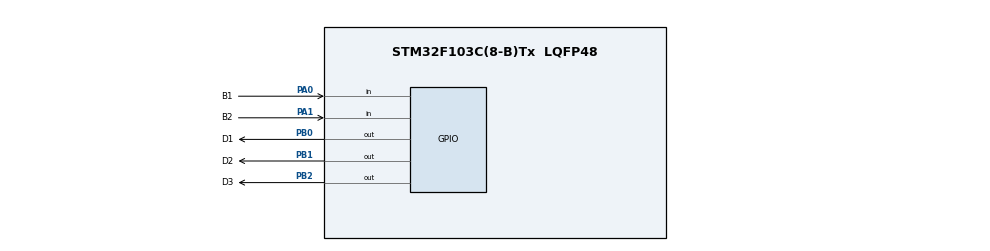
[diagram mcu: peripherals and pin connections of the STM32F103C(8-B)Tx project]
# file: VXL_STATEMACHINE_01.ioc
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Mcu.Family=STM32F1
Mcu.Name=STM32F103C(8-B)Tx
Mcu.Package=LQFP48
NVIC.PriorityGroup=NVIC_PRIORITYGROUP_4
PA0-WKUP.GPIO_Label=B1
PA0-WKUP.GPIO_PuPd=GPIO_PULLUP
PA0-WKUP.Signal=GPIO_Input
PA1.GPIO_Label=B2
PA1.GPIO_PuPd=GPIO_PULLUP
PA1.Signal=GPIO_Input
PA13.Mode=Serial_Wire
PA13.Signal=SYS_JTMS-SWDIO
PA14.Mode=Serial_Wire
PA14.Signal=SYS_JTCK-SWCLK
PB0.GPIO_Label=D1
PB0.Signal=GPIO_Output
PB1.GPIO_Label=D2
PB1.Signal=GPIO_Output
PB2.GPIO_Label=D3
PB2.Signal=GPIO_Output
ProjectManager.HeapSize=0x200
ProjectManager.StackSize=0x400
ProjectManager.TargetToolchain=MDK-ARM V5.32
RCC.APB1Freq_Value=8000000
RCC.APB2Freq_Value=8000000
board=custom

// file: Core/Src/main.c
/* USER CODE BEGIN Header */
/**
  ******************************************************************************
  * @file           : main.c
  * @brief          : Main program body
  ******************************************************************************
  * @attention
  *
  * Copyright (c) 2023 STMicroelectronics.
  * All rights reserved.
  *
  * This software is licensed under terms that can be found in the LICENSE file
  * in the root directory of this software component.
  * If no LICENSE file comes with this software, it is provided AS-IS.
  *
  ******************************************************************************
  */
/* USER CODE END Header */
#include "main.h"

/* USER CODE BEGIN PD */
#define Request_2
#define B1_PRESSED	GPIO_PIN_RESET //0
#define B2_PRESSED	GPIO_PIN_RESET //0
#define D1_ON 			GPIO_PIN_SET   //1
#define D1_OFF 			GPIO_PIN_RESET
#define D2_ON 			GPIO_PIN_SET   //1
#define D2_OFF 			GPIO_PIN_RESET
#define D3_ON 			GPIO_PIN_SET   //1
#define D3_OFF 			GPIO_PIN_RESET
/* USER CODE END PD */

/* USER CODE BEGIN PV */
uint8_t B1 = 0;
uint8_t B2 = 0;
uint8_t D1 = D1_OFF;
uint8_t D2 = D1_OFF;
uint8_t D3 = D1_OFF;
uint8_t SystemState = 0;
uint16_t ON_cnt = 0;
/* USER CODE END PV */

void SystemClock_Config(void);
static void MX_GPIO_Init(void);

int main(void)
{

  /* MCU Configuration--------------------------------------------------------*/

  /* Reset of all peripherals, Initializes the Flash interface and the Systick. */
  HAL_Init();

  /* Configure the system clock */
  SystemClock_Config();

  /* Initialize all configured peripherals */
  MX_GPIO_Init();

  /* Infinite loop */
  while (1)
  {

		// Request 1
		#if defined(Request_1)
		// Scan Input
		B1 = HAL_GPIO_ReadPin(B1_GPIO_Port,B1_Pin); // B1, B2 pull_up

		// State control
		if ((SystemState == 0) && (B1 == B1_PRESSED))
				SystemState = 1;
		else if ((SystemState == 1) && (B1 != B1_PRESSED))
				SystemState = 2;
		else if ((SystemState == 2) && (B1 == B1_PRESSED))
				SystemState = 3;
		else if ((SystemState == 3) && (B1 != B1_PRESSED))
				SystemState = 4;
		else if ((SystemState == 4) && (B1 == B1_PRESSED))
				SystemState = 5;
		else if ((SystemState == 5) && (B1 != B1_PRESSED))
				SystemState = 6;
		else if ((SystemState == 6) && (B1 == B1_PRESSED))
				SystemState = 7;
		else if ((SystemState == 7) && (B1 != B1_PRESSED))
				SystemState = 0;

		// Output control
		if (SystemState == 0) {D1 = D1_OFF; D2 = D2_OFF; D3 = D3_OFF;}
		else if (SystemState == 1) {D1 = D1_ON; D2 = D2_OFF; D3 = D3_OFF;}
		else if (SystemState == 2) {D1 = D1_ON; D2 = D2_OFF; D3 = D3_OFF;}
		else if (SystemState == 3) {D1 = D1_ON; D2 = D2_ON; D3 = D3_OFF;}
		else if (SystemState == 4) {D1 = D1_ON; D2 = D2_ON; D3 = D3_OFF;}
		else if (SystemState == 5) {D1 = D1_ON; D2 = D2_ON; D3 = D3_ON;}
		else if (SystemState == 6) {D1 = D1_ON; D2 = D2_ON; D3 = D3_ON;}
		else if (SystemState == 7) {D1 = D1_OFF; D2 = D2_OFF; D3 = D3_OFF;}
		// Output
		if (D1 == D1_OFF)
			HAL_GPIO_WritePin(D1_GPIO_Port,D1_Pin,D1_OFF);
		else if (D1 == D1_ON)
			HAL_GPIO_WritePin(D1_GPIO_Port,D1_Pin,D1_ON);
		if (D2 == D2_OFF)
			HAL_GPIO_WritePin(D2_GPIO_Port,D2_Pin,D2_OFF);
		else if (D2 == D2_ON)
			HAL_GPIO_WritePin(D2_GPIO_Port,D2_Pin,D2_ON);
		if (D3 == D3_OFF)
			HAL_GPIO_WritePin(D3_GPIO_Port,D3_Pin,D3_OFF);
		else if (D3 == D3_ON)
			HAL_GPIO_WritePin(D3_GPIO_Port,D3_Pin,D3_ON);

		#elif defined(Request_2)
		// Scan Input
		B2 = HAL_GPIO_ReadPin(B2_GPIO_Port,B2_Pin); // B1, B2 pull_up

		// State control
		if ((SystemState == 0) && (B2 == B2_PRESSED))
				SystemState = 1;
		else if ((SystemState == 1) && (B2 != B2_PRESSED))
				SystemState = 2;
		else if ((SystemState == 2) && (B2 == B2_PRESSED))
				SystemState = 3;
		else if ((SystemState == 3) && (B2 != B2_PRESSED))
				SystemState = 4;
		else if ((SystemState == 4) && (B2 == B2_PRESSED))
				SystemState = 5;
		else if ((SystemState == 5) && (B2 != B2_PRESSED))
				SystemState = 6;
		else if ((SystemState == 6) && (B2 == B2_PRESSED))
				SystemState = 7;
		else if ((SystemState == 7) && (B2 != B2_PRESSED))
				SystemState = 8;
		//else if ((SystemState == 8) && (B2 == B2_PRESSED))
				//SystemState = 9;
		//else if ((SystemState == 9) && (B2 != B2_PRESSED))
				//SystemState = 0;

		// Output control
		if (SystemState == 0) {D1 = D1_OFF; D2 = D2_OFF; D3 = D3_OFF;}
		else if (SystemState == 1){ D2 = D2_OFF; D3 = D3_OFF;
			if (ON_cnt < 500)
			{
				HAL_GPIO_WritePin(D1_GPIO_Port,D1_Pin,D1_ON);
			}
			else if (ON_cnt < 1000)
			{
				HAL_GPIO_WritePin(D1_GPIO_Port,D1_Pin,D1_OFF);
			}
			else ON_cnt = 0; // reset
			ON_cnt+=1;
			HAL_Delay(1);
		}
		else if (SystemState == 2){ D2 = D2_OFF; D3 = D3_OFF;
			if (ON_cnt < 500)
			{
				HAL_GPIO_WritePin(D1_GPIO_Port,D1_Pin,D1_ON);
			}
			else if (ON_cnt < 1000)
			{
				HAL_GPIO_WritePin(D1_GPIO_Port,D1_Pin,D1_OFF);
			}
			else ON_cnt = 0; // reset
			ON_cnt+=1;
			HAL_Delay(1);
		}
		else if (SystemState == 3){ D1 = D1_OFF; D3 = D3_OFF;
			if (ON_cnt < 500)
			{
				HAL_GPIO_WritePin(D2_GPIO_Port,D2_Pin,D2_ON);
			}
			else if (ON_cnt < 1000)
			{
				HAL_GPIO_WritePin(D2_GPIO_Port,D2_Pin,D2_OFF);
			}
			else ON_cnt = 0; // reset
			ON_cnt+=1;
			HAL_Delay(1);
		}
		else if (SystemState == 4){ D1 = D1_OFF; D3 = D3_OFF;
			if (ON_cnt < 500)
			{
				HAL_GPIO_WritePin(D2_GPIO_Port,D2_Pin,D2_ON);
			}
			else if (ON_cnt < 1000)
			{
				HAL_GPIO_WritePin(D2_GPIO_Port,D2_Pin,D2_OFF);
			}
			else ON_cnt = 0; // reset
			ON_cnt+=1;
			HAL_Delay(1);
		}
		else if (SystemState == 5){ D1 = D1_OFF; D2 = D2_OFF;
			if (ON_cnt < 500)
			{
				HAL_GPIO_WritePin(D3_GPIO_Port,D3_Pin,D3_ON);
			}
			else if (ON_cnt < 1000)
			{
				HAL_GPIO_WritePin(D3_GPIO_Port,D3_Pin,D3_OFF);
			}
			else ON_cnt = 0; // reset
			ON_cnt+=1;
			HAL_Delay(1);
		}
		else if (SystemState == 6){ D1 = D1_OFF; D2 = D2_OFF;
			if (ON_cnt < 500)
			{
				HAL_GPIO_WritePin(D3_GPIO_Port,D3_Pin,D3_ON);
			}
			else if (ON_cnt < 1000)
			{
				HAL_GPIO_WritePin(D3_GPIO_Port,D3_Pin,D3_OFF);
			}
			else ON_cnt = 0; // reset
			ON_cnt+=1;
			HAL_Delay(1);
		}
		else if (SystemState == 7){
			if (ON_cnt < 500)
			{
				HAL_GPIO_WritePin(D1_GPIO_Port,D1_Pin,D1_ON);
				HAL_GPIO_WritePin(D2_GPIO_Port,D2_Pin,D2_ON);
				HAL_GPIO_WritePin(D3_GPIO_Port,D3_Pin,D3_ON);
			}
			else if (ON_cnt < 1000)
			{
				HAL_GPIO_WritePin(D1_GPIO_Port,D1_Pin,D1_OFF);
				HAL_GPIO_WritePin(D2_GPIO_Port,D2_Pin,D2_OFF);
				HAL_GPIO_WritePin(D3_GPIO_Port,D3_Pin,D3_OFF);
			}
			else ON_cnt = 0; // reset
			ON_cnt+=1;
			HAL_Delay(1);
		}
		else if (SystemState == 8){
			if (ON_cnt < 500)
			{
				HAL_GPIO_WritePin(D1_GPIO_Port,D1_Pin,D1_ON);
				HAL_GPIO_WritePin(D2_GPIO_Port,D2_Pin,D2_ON);
				HAL_GPIO_WritePin(D3_GPIO_Port,D3_Pin,D3_ON);
			}
			else if (ON_cnt < 1000)
			{
				HAL_GPIO_WritePin(D1_GPIO_Port,D1_Pin,D1_OFF);
				HAL_GPIO_WritePin(D2_GPIO_Port,D2_Pin,D2_OFF);
				HAL_GPIO_WritePin(D3_GPIO_Port,D3_Pin,D3_OFF);
			}
			else ON_cnt = 0; // reset
			ON_cnt+=1;
			HAL_Delay(1);
		}
		else if (SystemState == 9){ D1 = D1_OFF; D2 = D2_OFF; D2 = D2_OFF;}

		// Output
		if (D1 == D1_OFF)
			HAL_GPIO_WritePin(D1_GPIO_Port,D1_Pin,D1_OFF);
		else if (D1 == D1_ON)
			HAL_GPIO_WritePin(D1_GPIO_Port,D1_Pin,D1_ON);
		if (D2 == D2_OFF)
			HAL_GPIO_WritePin(D2_GPIO_Port,D2_Pin,D2_OFF);
		else if (D2 == D2_ON)
			HAL_GPIO_WritePin(D2_GPIO_Port,D2_Pin,D2_ON);
		if (D3 == D3_OFF)
			HAL_GPIO_WritePin(D3_GPIO_Port,D3_Pin,D3_OFF);
		else if (D3 == D3_ON)
			HAL_GPIO_WritePin(D3_GPIO_Port,D3_Pin,D3_ON);
		#endif
  }
}

void SystemClock_Config(void)
{
  RCC_OscInitTypeDef RCC_OscInitStruct = {0};
  RCC_ClkInitTypeDef RCC_ClkInitStruct = {0};

  /** Initializes the RCC Oscillators according to the specified parameters
  * in the RCC_OscInitTypeDef structure.
  */
  RCC_OscInitStruct.OscillatorType = RCC_OSCILLATORTYPE_HSI;
  RCC_OscInitStruct.HSIState = RCC_HSI_ON;
  RCC_OscInitStruct.HSICalibrationValue = RCC_HSICALIBRATION_DEFAULT;
  RCC_OscInitStruct.PLL.PLLState = RCC_PLL_NONE;
  if (HAL_RCC_OscConfig(&RCC_OscInitStruct) != HAL_OK)
  {
    Error_Handler();
  }

  /** Initializes the CPU, AHB and APB buses clocks
  */
  RCC_ClkInitStruct.ClockType = RCC_CLOCKTYPE_HCLK|RCC_CLOCKTYPE_SYSCLK
                              |RCC_CLOCKTYPE_PCLK1|RCC_CLOCKTYPE_PCLK2;
  RCC_ClkInitStruct.SYSCLKSource = RCC_SYSCLKSOURCE_HSI;
  RCC_ClkInitStruct.AHBCLKDivider = RCC_SYSCLK_DIV1;
  RCC_ClkInitStruct.APB1CLKDivider = RCC_HCLK_DIV1;
  RCC_ClkInitStruct.APB2CLKDivider = RCC_HCLK_DIV1;

  if (HAL_RCC_ClockConfig(&RCC_ClkInitStruct, FLASH_LATENCY_0) != HAL_OK)
  {
    Error_Handler();
  }
}

static void MX_GPIO_Init(void)
{
  GPIO_InitTypeDef GPIO_InitStruct = {0};

  /* GPIO Ports Clock Enable */
  __HAL_RCC_GPIOC_CLK_ENABLE();
  __HAL_RCC_GPIOD_CLK_ENABLE();
  __HAL_RCC_GPIOA_CLK_ENABLE();
  __HAL_RCC_GPIOB_CLK_ENABLE();

  /*Configure GPIO pin Output Level */
  HAL_GPIO_WritePin(GPIOB, D1_Pin|D2_Pin|D3_Pin, GPIO_PIN_RESET);

  /*Configure GPIO pins : PC13 PC14 PC15 */
  GPIO_InitStruct.Pin = GPIO_PIN_13|GPIO_PIN_14|GPIO_PIN_15;
  GPIO_InitStruct.Mode = GPIO_MODE_ANALOG;
  HAL_GPIO_Init(GPIOC, &GPIO_InitStruct);

  /*Configure GPIO pins : PD0 PD1 */
  GPIO_InitStruct.Pin = GPIO_PIN_0|GPIO_PIN_1;
  GPIO_InitStruct.Mode = GPIO_MODE_ANALOG;
  HAL_GPIO_Init(GPIOD, &GPIO_InitStruct);

  /*Configure GPIO pins : B1_Pin B2_Pin */
  GPIO_InitStruct.Pin = B1_Pin|B2_Pin;
  GPIO_InitStruct.Mode = GPIO_MODE_INPUT;
  GPIO_InitStruct.Pull = GPIO_PULLUP;
  HAL_GPIO_Init(GPIOA, &GPIO_InitStruct);

  /*Configure GPIO pins : PA2 PA3 PA4 PA5
                           PA6 PA7 PA8 PA9
                           PA10 PA11 PA12 PA15 */
  GPIO_InitStruct.Pin = GPIO_PIN_2|GPIO_PIN_3|GPIO_PIN_4|GPIO_PIN_5
                          |GPIO_PIN_6|GPIO_PIN_7|GPIO_PIN_8|GPIO_PIN_9
                          |GPIO_PIN_10|GPIO_PIN_11|GPIO_PIN_12|GPIO_PIN_15;
  GPIO_InitStruct.Mode = GPIO_MODE_ANALOG;
  HAL_GPIO_Init(GPIOA, &GPIO_InitStruct);

  /*Configure GPIO pins : D1_Pin D2_Pin D3_Pin */
  GPIO_InitStruct.Pin = D1_Pin|D2_Pin|D3_Pin;
  GPIO_InitStruct.Mode = GPIO_MODE_OUTPUT_PP;
  GPIO_InitStruct.Pull = GPIO_NOPULL;
  GPIO_InitStruct.Speed = GPIO_SPEED_FREQ_LOW;
  HAL_GPIO_Init(GPIOB, &GPIO_InitStruct);

  /*Configure GPIO pins : PB10 PB11 PB12 PB13
                           PB14 PB15 PB3 PB4
                           PB5 PB6 PB7 PB8
                           PB9 */
  GPIO_InitStruct.Pin = GPIO_PIN_10|GPIO_PIN_11|GPIO_PIN_12|GPIO_PIN_13
                          |GPIO_PIN_14|GPIO_PIN_15|GPIO_PIN_3|GPIO_PIN_4
                          |GPIO_PIN_5|GPIO_PIN_6|GPIO_PIN_7|GPIO_PIN_8
                          |GPIO_PIN_9;
  GPIO_InitStruct.Mode = GPIO_MODE_ANALOG;
  HAL_GPIO_Init(GPIOB, &GPIO_InitStruct);

  /*Configure peripheral I/O remapping */
  __HAL_AFIO_REMAP_PD01_ENABLE();

}

void Error_Handler(void)
{
  __disable_irq();
  while (1)
  {
  }
}
